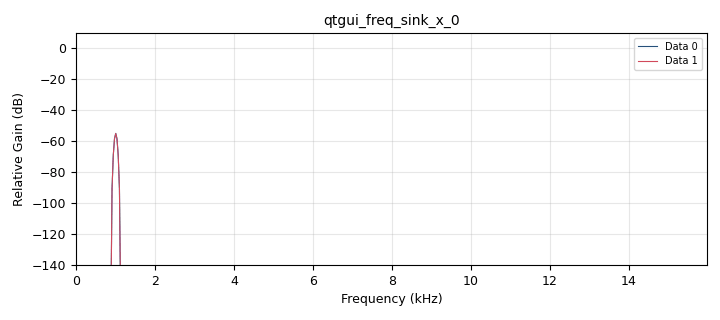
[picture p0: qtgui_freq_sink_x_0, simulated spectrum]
options:
  parameters:
    generate_options: qt_gui
    id: top_block
    output_language: python
  states: {}

blocks:
- name: freq
  id: variable_qtgui_entry
  parameters:
    type: real
    value: 1e3
  states: {}
- name: gain_val
  id: variable_qtgui_range
  parameters:
    start: '0.1'
    step: '0.1'
    stop: '100'
    value: '1'
  states: {}
- name: samp_rate
  id: variable
  parameters:
    value: '32000'
  states: {}
- name: analog_sig_source_x_0
  id: analog_sig_source_x
  parameters:
    amp: '0.01'
    freq: freq
    offset: '0'
    phase: '0'
    samp_rate: samp_rate
    type: float
    waveform: analog.GR_COS_WAVE
  states: {}
- name: audio_sink_0
  id: audio_sink
  parameters:
    samp_rate: samp_rate
  states: {}
- name: blocks_multiply_const_vxx_0
  id: blocks_multiply_const_vxx
  parameters:
    const: gain_val
    type: float
  states: {}
- name: qtgui_freq_sink_x_0
  id: qtgui_freq_sink_x
  parameters:
    bw: samp_rate
    fc: '0'
    fftsize: '1024'
    freqhalf: 'False'
    nconnections: '2'
    type: float
  states: {}

connections:
- [analog_sig_source_x_0, '0', blocks_multiply_const_vxx_0, '0']
- [analog_sig_source_x_0, '0', qtgui_freq_sink_x_0, '0']
- [blocks_multiply_const_vxx_0, '0', audio_sink_0, '0']
- [blocks_multiply_const_vxx_0, '0', qtgui_freq_sink_x_0, '1']

metadata:
  file_format: 1
  grc_version: 3.10.9.2
